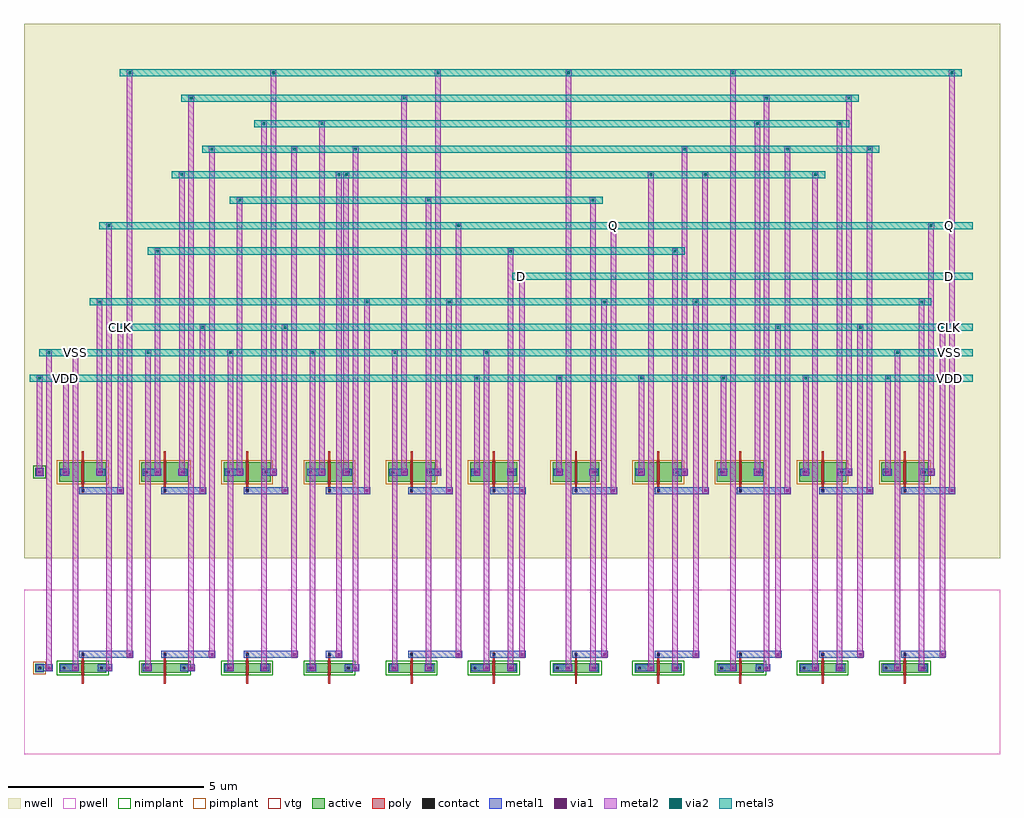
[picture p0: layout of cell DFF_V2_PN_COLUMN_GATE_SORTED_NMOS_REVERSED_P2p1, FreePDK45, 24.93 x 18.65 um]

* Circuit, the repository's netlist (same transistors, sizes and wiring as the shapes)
* cell DFF_V2_PN_COLUMN_GATE_SORTED_NMOS_REVERSED_P2p1
* pin Q
* pin CLK
* pin D
* pin VDD
* pin VSS
.SUBCKT DFF_V2_PN_COLUMN_GATE_SORTED_NMOS_REVERSED_P2p1 1 6 10 12 13
* net 1 Q
* net 6 CLK
* net 10 D
* net 12 VDD
* net 13 VSS
* device instance $1 r0 *1 22.2,7 PMOS_VTG
M$1 1 5 12 12 PMOS_VTG L=0.05U W=0.5U AS=0.2875P AD=0.2875P PS=2.15U PD=2.15U
* device instance $2 r0 *1 18,7 PMOS_VTG
M$2 3 8 12 12 PMOS_VTG L=0.05U W=0.5U AS=0.2875P AD=0.2875P PS=2.15U PD=2.15U
* device instance $3 r0 *1 15.9,7 PMOS_VTG
M$3 8 11 12 12 PMOS_VTG L=0.05U W=0.5U AS=0.2875P AD=0.2875P PS=2.15U PD=2.15U
* device instance $4 r0 *1 13.8,7 PMOS_VTG
M$4 9 1 12 12 PMOS_VTG L=0.05U W=0.5U AS=0.2875P AD=0.2875P PS=2.15U PD=2.15U
* device instance $5 r0 *1 20.1,7 PMOS_VTG
M$5 2 8 12 12 PMOS_VTG L=0.05U W=0.5U AS=0.2875P AD=0.2875P PS=2.15U PD=2.15U
* device instance $6 r0 *1 1.2,7 PMOS_VTG
M$6 7 6 12 12 PMOS_VTG L=0.05U W=0.5U AS=0.2875P AD=0.2875P PS=2.15U PD=2.15U
* device instance $7 r0 *1 3.3,7 PMOS_VTG
M$7 11 6 4 12 PMOS_VTG L=0.05U W=0.5U AS=0.2875P AD=0.2875P PS=2.15U PD=2.15U
* device instance $8 r0 *1 5.4,7 PMOS_VTG
M$8 5 6 9 12 PMOS_VTG L=0.05U W=0.5U AS=0.2875P AD=0.2875P PS=2.15U PD=2.15U
* device instance $9 r0 *1 7.5,7 PMOS_VTG
M$9 11 7 3 12 PMOS_VTG L=0.05U W=0.5U AS=0.2875P AD=0.2875P PS=2.15U PD=2.15U
* device instance $10 r0 *1 9.6,7 PMOS_VTG
M$10 5 7 2 12 PMOS_VTG L=0.05U W=0.5U AS=0.2875P AD=0.2875P PS=2.15U PD=2.15U
* device instance $11 r0 *1 11.7,7 PMOS_VTG
M$11 4 10 12 12 PMOS_VTG L=0.05U W=0.5U AS=0.2875P AD=0.2875P PS=2.15U PD=2.15U
* device instance $12 r0 *1 22.2,2 NMOS_VTG
M$12 7 6 13 13 NMOS_VTG L=0.05U W=0.25U AS=0.14375P AD=0.14375P PS=1.65U
+ PD=1.65U
* device instance $13 r0 *1 18,2 NMOS_VTG
M$13 2 6 5 13 NMOS_VTG L=0.05U W=0.25U AS=0.14375P AD=0.14375P PS=1.65U PD=1.65U
* device instance $14 r0 *1 15.9,2 NMOS_VTG
M$14 4 7 11 13 NMOS_VTG L=0.05U W=0.25U AS=0.14375P AD=0.14375P PS=1.65U
+ PD=1.65U
* device instance $15 r0 *1 20.1,2 NMOS_VTG
M$15 3 6 11 13 NMOS_VTG L=0.05U W=0.25U AS=0.14375P AD=0.14375P PS=1.65U
+ PD=1.65U
* device instance $16 r0 *1 13.8,2 NMOS_VTG
M$16 9 7 5 13 NMOS_VTG L=0.05U W=0.25U AS=0.14375P AD=0.14375P PS=1.65U PD=1.65U
* device instance $17 r0 *1 1.2,2 NMOS_VTG
M$17 1 5 13 13 NMOS_VTG L=0.05U W=0.25U AS=0.14375P AD=0.14375P PS=1.65U
+ PD=1.65U
* device instance $18 r0 *1 3.3,2 NMOS_VTG
M$18 2 8 13 13 NMOS_VTG L=0.05U W=0.25U AS=0.14375P AD=0.14375P PS=1.65U
+ PD=1.65U
* device instance $19 r0 *1 5.4,2 NMOS_VTG
M$19 3 8 13 13 NMOS_VTG L=0.05U W=0.25U AS=0.14375P AD=0.14375P PS=1.65U
+ PD=1.65U
* device instance $20 r0 *1 7.5,2 NMOS_VTG
M$20 8 11 13 13 NMOS_VTG L=0.05U W=0.25U AS=0.14375P AD=0.14375P PS=1.65U
+ PD=1.65U
* device instance $21 r0 *1 9.6,2 NMOS_VTG
M$21 9 1 13 13 NMOS_VTG L=0.05U W=0.25U AS=0.14375P AD=0.14375P PS=1.65U
+ PD=1.65U
* device instance $22 r0 *1 11.7,2 NMOS_VTG
M$22 4 10 13 13 NMOS_VTG L=0.05U W=0.25U AS=0.14375P AD=0.14375P PS=1.65U
+ PD=1.65U
.ENDS DFF_V2_PN_COLUMN_GATE_SORTED_NMOS_REVERSED_P2p1

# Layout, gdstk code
import gdstk
lib = gdstk.Library(unit=1e-6, precision=5e-10)
def R(c, l, rs):  # rectangles x0, y0, x1, y1
    for r in rs: c.add(gdstk.rectangle(r[:2], r[2:], *l))
def A(c, l, x, y, w, h, nx, ny, dx, dy):  # array of equal rectangles
    R(c, l, [(x+i*dx, y+j*dy, x+i*dx+w, y+j*dy+h) for i in range(nx) for j in range(ny)])
active = (1, 0)
pwell = (2, 0)
nwell = (3, 0)
nimplant = (4, 0)
pimplant = (5, 0)
vtg = (6, 0)
poly = (9, 0)
contact = (10, 0)
metal1 = (11, 0)
via1 = (12, 0)
metal2 = (13, 0)
via2 = (14, 0)
metal3 = (15, 0)

dff_v2_pn_column_gate_so = lib.new_cell('DFF_V2_PN_COLUMN_GATE_SORTED_NMOS_REVERSED_P2p1')
A(dff_v2_pn_column_gate_so, active, 0.6, 1.875, 1.2, 0.25, 11, 1, 2.1, 0)
A(dff_v2_pn_column_gate_so, active, 0.6, 6.75, 1.2, 0.5, 11, 1, 2.1, 0)
R(dff_v2_pn_column_gate_so, active, [(-0.01,1.89,0.21,2.11), (-0.01,6.89,0.21,7.11)])
R(dff_v2_pn_column_gate_so, pwell, [(-0.3,-0.2,24.63,4)])
R(dff_v2_pn_column_gate_so, nwell, [(-0.3,4.8,24.63,18.45)])
A(dff_v2_pn_column_gate_so, nimplant, 0.54, 1.815, 1.32, 0.37, 11, 1, 2.1, 0)
R(dff_v2_pn_column_gate_so, nimplant, [(-0.06,6.84,0.26,7.16)])
A(dff_v2_pn_column_gate_so, pimplant, 0.54, 6.69, 1.32, 0.62, 11, 1, 2.1, 0)
R(dff_v2_pn_column_gate_so, pimplant, [(-0.06,1.84,0.26,2.16)])
A(dff_v2_pn_column_gate_so, vtg, 1.165, 1.845, 0.07, 0.31, 11, 1, 2.1, 0)
A(dff_v2_pn_column_gate_so, vtg, 1.165, 6.72, 0.07, 0.56, 11, 1, 2.1, 0)
A(dff_v2_pn_column_gate_so, poly, 1.175, 1.595, 0.05, 0.81, 11, 1, 2.1, 0)
A(dff_v2_pn_column_gate_so, poly, 1.175, 6.47, 0.05, 1.06, 11, 1, 2.1, 0)
A(dff_v2_pn_column_gate_so, contact, 1.17, 2.315, 0.065, 0.065, 11, 2, 2.1, 4.185)
R(dff_v2_pn_column_gate_so, contact, [(0.07,1.97,0.135,2.035), (0.69,1.97,0.755,2.035), (1.65,1.97,1.715,2.035), (2.79,1.97,2.855,2.035), (3.75,1.97,3.815,2.035), (4.89,1.97,4.955,2.035), (5.85,1.97,5.915,2.035), (6.99,1.97,7.055,2.035), (7.95,1.97,8.015,2.035), (9.09,1.97,9.155,2.035), (10.05,1.97,10.115,2.035), (11.19,1.97,11.255,2.035), (12.15,1.97,12.215,2.035), (13.29,1.97,13.355,2.035), (14.25,1.97,14.315,2.035), (15.39,1.97,15.455,2.035), (16.35,1.97,16.415,2.035), (17.49,1.97,17.555,2.035), (18.45,1.97,18.515,2.035), (19.59,1.97,19.655,2.035), (20.55,1.97,20.615,2.035), (21.69,1.97,21.755,2.035), (22.65,1.97,22.715,2.035), (0.07,6.97,0.135,7.035), (0.69,6.97,0.755,7.035), (1.65,6.97,1.715,7.035), (2.79,6.97,2.855,7.035), (3.75,6.97,3.815,7.035), (4.89,6.97,4.955,7.035), (5.85,6.97,5.915,7.035), (6.99,6.97,7.055,7.035), (7.95,6.97,8.015,7.035), (9.09,6.97,9.155,7.035), (10.05,6.97,10.115,7.035), (11.19,6.97,11.255,7.035), (12.15,6.97,12.215,7.035), (13.29,6.97,13.355,7.035), (14.25,6.97,14.315,7.035), (15.39,6.97,15.455,7.035), (16.35,6.97,16.415,7.035), (17.49,6.97,17.555,7.035), (18.45,6.97,18.515,7.035), (19.59,6.97,19.655,7.035), (20.55,6.97,20.615,7.035), (21.69,6.97,21.755,7.035), (22.65,6.97,22.715,7.035)])
A(dff_v2_pn_column_gate_so, metal1, 11.27, 1.91, 0.24, 0.18, 4, 1, 2.1, 0)
A(dff_v2_pn_column_gate_so, metal1, 1.2, 2.255, 1.2, 0.18, 3, 1, 2.1, 0)
A(dff_v2_pn_column_gate_so, metal1, 15.9, 2.255, 0.96, 0.18, 4, 1, 2.1, 0)
A(dff_v2_pn_column_gate_so, metal1, 1.2, 6.44, 0.96, 0.18, 5, 1, 2.1, 0)
A(dff_v2_pn_column_gate_so, metal1, 15.9, 6.44, 1.2, 0.18, 4, 1, 2.1, 0)
R(dff_v2_pn_column_gate_so, metal1, [(0,1.9,0.2,2.1), (0.1,1.91,0.34,2.09), (0.1,1.91,0.34,2.09), (0.1,1.91,0.34,2.09), (0.1,1.91,0.34,2.09), (0.1,1.91,0.34,2.09), (0.1,1.91,0.34,2.09), (0.1,1.91,0.34,2.09), (0.1,1.91,0.34,2.09), (0.1,1.91,0.34,2.09), (0.1,1.91,0.34,2.09), (0.1,1.91,0.34,2.09), (0.1,1.91,0.34,2.09), (0.25,1.91,0.43,2.09), (0.25,1.91,0.43,2.09), (0.25,1.91,0.43,2.09), (0.25,1.91,0.43,2.09), (0.25,1.91,0.43,2.09), (0.25,1.91,0.43,2.09), (0.25,1.91,0.43,2.09), (0.25,1.91,0.43,2.09), (0.25,1.91,0.43,2.09), (0.25,1.91,0.43,2.09), (0.25,1.91,0.43,2.09), (0.25,1.91,0.43,2.09), (0.63,1.91,0.81,2.09), (0.77,1.91,1.01,2.09), (0.92,1.91,1.1,2.09), (1.59,1.91,1.77,2.09), (1.63,1.91,1.87,2.09), (1.78,1.91,1.96,2.09), (2.73,1.91,2.91,2.09), (2.78,1.91,2.96,2.09), (3.69,1.91,3.87,2.09), (3.73,1.91,3.97,2.09), (3.88,1.91,4.06,2.09), (4.83,1.91,5.01,2.09), (4.88,1.91,5.06,2.09), (5.74,1.91,5.92,2.09), (5.79,1.91,5.97,2.09), (6.93,1.91,7.11,2.09), (6.98,1.91,7.16,2.09), (7.89,1.91,8.07,2.09), (7.93,1.91,8.17,2.09), (8.08,1.91,8.26,2.09), (9.03,1.91,9.21,2.09), (9.08,1.91,9.26,2.09), (9.94,1.91,10.12,2.09), (9.99,1.91,10.17,2.09), (11.13,1.91,11.31,2.09), (11.42,1.91,11.6,2.09), (12.04,1.91,12.22,2.09), (12.09,1.91,12.27,2.09), (13.23,1.91,13.41,2.09), (13.52,1.91,13.7,2.09), (14.14,1.91,14.32,2.09), (14.19,1.91,14.37,2.09), (15.33,1.91,15.51,2.09), (15.62,1.91,15.8,2.09), (16.24,1.91,16.42,2.09), (16.29,1.91,16.47,2.09), (17.43,1.91,17.61,2.09), (17.72,1.91,17.9,2.09), (18.39,1.91,18.57,2.09), (18.43,1.91,18.67,2.09), (18.58,1.91,18.76,2.09), (19.53,1.91,19.71,2.09), (19.67,1.91,19.91,2.09), (19.82,1.91,20,2.09), (20.44,1.91,20.62,2.09), (20.49,1.91,20.67,2.09), (21.63,1.91,21.81,2.09), (21.77,1.91,22.01,2.09), (21.92,1.91,22.1,2.09), (22.54,1.91,22.72,2.09), (22.59,1.91,22.77,2.09), (1.11,2.255,1.29,2.435), (2.31,2.255,2.49,2.435), (3.21,2.255,3.39,2.435), (4.41,2.255,4.59,2.435), (5.31,2.255,5.49,2.435), (6.51,2.255,6.69,2.435), (7.41,2.255,7.59,2.435), (7.5,2.255,7.74,2.435), (7.65,2.255,7.83,2.435), (9.51,2.255,9.69,2.435), (9.6,2.255,10.8,2.435), (10.71,2.255,10.89,2.435), (11.61,2.255,11.79,2.435), (11.7,2.255,12.42,2.435), (12.33,2.255,12.51,2.435), (13.71,2.255,13.89,2.435), (13.8,2.255,14.52,2.435), (14.43,2.255,14.61,2.435), (15.81,2.255,15.99,2.435), (16.77,2.255,16.95,2.435), (17.91,2.255,18.09,2.435), (18.87,2.255,19.05,2.435), (20.01,2.255,20.19,2.435), (20.97,2.255,21.15,2.435), (22.11,2.255,22.29,2.435), (23.07,2.255,23.25,2.435), (1.11,6.44,1.29,6.62), (2.07,6.44,2.25,6.62), (3.21,6.44,3.39,6.62), (4.17,6.44,4.35,6.62), (5.31,6.44,5.49,6.62), (6.27,6.44,6.45,6.62), (7.41,6.44,7.59,6.62), (8.37,6.44,8.55,6.62), (9.51,6.44,9.69,6.62), (10.47,6.44,10.65,6.62), (11.61,6.44,11.79,6.62), (11.7,6.44,12.42,6.62), (12.33,6.44,12.51,6.62), (13.71,6.44,13.89,6.62), (13.8,6.44,14.76,6.62), (14.67,6.44,14.85,6.62), (15.81,6.44,15.99,6.62), (17.01,6.44,17.19,6.62), (17.91,6.44,18.09,6.62), (19.11,6.44,19.29,6.62), (20.01,6.44,20.19,6.62), (21.21,6.44,21.39,6.62), (22.11,6.44,22.29,6.62), (23.31,6.44,23.49,6.62), (0,6.9,0.2,7.1), (0.01,6.91,0.19,7.09), (0.01,6.91,0.19,7.09), (0.01,6.91,0.19,7.09), (0.01,6.91,0.19,7.09), (0.01,6.91,0.19,7.09), (0.01,6.91,0.19,7.09), (0.01,6.91,0.19,7.09), (0.01,6.91,0.19,7.09), (0.01,6.91,0.19,7.09), (0.01,6.91,0.19,7.09), (0.01,6.91,0.19,7.09), (0.01,6.91,0.19,7.09), (0.63,6.91,0.81,7.09), (0.68,6.91,0.86,7.09), (1.54,6.91,1.72,7.09), (1.59,6.91,1.77,7.09), (2.73,6.91,2.91,7.09), (2.87,6.91,3.11,7.09), (3.02,6.91,3.2,7.09), (3.64,6.91,3.82,7.09), (3.69,6.91,3.87,7.09), (4.83,6.91,5.01,7.09), (4.97,6.91,5.21,7.09), (5.12,6.91,5.3,7.09), (5.79,6.91,5.97,7.09), (5.83,6.91,6.07,7.09), (5.98,6.91,6.16,7.09), (6.93,6.91,7.11,7.09), (7.07,6.91,7.31,7.09), (7.22,6.91,7.4,7.09), (7.84,6.91,8.02,7.09), (7.89,6.91,8.07,7.09), (9.03,6.91,9.21,7.09), (9.17,6.91,9.41,7.09), (9.32,6.91,9.5,7.09), (9.99,6.91,10.17,7.09), (10.03,6.91,10.27,7.09), (10.18,6.91,10.36,7.09), (11.13,6.91,11.31,7.09), (11.18,6.91,11.36,7.09), (12.04,6.91,12.22,7.09), (12.09,6.91,12.27,7.09), (13.23,6.91,13.41,7.09), (13.28,6.91,13.46,7.09), (14.14,6.91,14.32,7.09), (14.19,6.91,14.37,7.09), (15.33,6.91,15.51,7.09), (15.38,6.91,15.56,7.09), (16.29,6.91,16.47,7.09), (16.33,6.91,16.57,7.09), (16.48,6.91,16.66,7.09), (17.43,6.91,17.61,7.09), (17.48,6.91,17.66,7.09), (18.34,6.91,18.52,7.09), (18.39,6.91,18.57,7.09), (19.53,6.91,19.71,7.09), (19.58,6.91,19.76,7.09), (20.49,6.91,20.67,7.09), (20.53,6.91,20.77,7.09), (20.68,6.91,20.86,7.09), (21.63,6.91,21.81,7.09), (21.68,6.91,21.86,7.09), (22.59,6.91,22.77,7.09), (22.63,6.91,22.87,7.09), (22.78,6.91,22.96,7.09)])
A(dff_v2_pn_column_gate_so, via1, 2.37, 2.315, 0.065, 0.065, 3, 1, 2.1, 0)
A(dff_v2_pn_column_gate_so, via1, 16.83, 2.315, 0.065, 0.065, 4, 1, 2.1, 0)
A(dff_v2_pn_column_gate_so, via1, 2.13, 6.5, 0.065, 0.065, 5, 1, 2.1, 0)
A(dff_v2_pn_column_gate_so, via1, 12.39, 6.5, 0.065, 0.065, 3, 1, 2.34, 0)
A(dff_v2_pn_column_gate_so, via1, 19.17, 6.5, 0.065, 0.065, 3, 1, 2.1, 0)
R(dff_v2_pn_column_gate_so, via1, [(0.31,1.97,0.375,2.035), (0.31,1.97,0.375,2.035), (0.31,1.97,0.375,2.035), (0.31,1.97,0.375,2.035), (0.31,1.97,0.375,2.035), (0.31,1.97,0.375,2.035), (0.31,1.97,0.375,2.035), (0.31,1.97,0.375,2.035), (0.31,1.97,0.375,2.035), (0.31,1.97,0.375,2.035), (0.31,1.97,0.375,2.035), (0.31,1.97,0.375,2.035), (0.98,1.97,1.045,2.035), (1.84,1.97,1.905,2.035), (2.84,1.97,2.905,2.035), (3.94,1.97,4.005,2.035), (4.94,1.97,5.005,2.035), (5.8,1.97,5.865,2.035), (7.04,1.97,7.105,2.035), (8.14,1.97,8.205,2.035), (9.14,1.97,9.205,2.035), (10,1.97,10.065,2.035), (11.48,1.97,11.545,2.035), (12.1,1.97,12.165,2.035), (13.58,1.97,13.645,2.035), (14.2,1.97,14.265,2.035), (15.68,1.97,15.745,2.035), (16.3,1.97,16.365,2.035), (17.78,1.97,17.845,2.035), (18.64,1.97,18.705,2.035), (19.88,1.97,19.945,2.035), (20.5,1.97,20.565,2.035), (21.98,1.97,22.045,2.035), (22.6,1.97,22.665,2.035), (7.71,2.315,7.775,2.38), (10.77,2.315,10.835,2.38), (12.39,2.315,12.455,2.38), (14.49,2.315,14.555,2.38), (0.07,6.97,0.135,7.035), (0.07,6.97,0.135,7.035), (0.07,6.97,0.135,7.035), (0.07,6.97,0.135,7.035), (0.07,6.97,0.135,7.035), (0.07,6.97,0.135,7.035), (0.07,6.97,0.135,7.035), (0.07,6.97,0.135,7.035), (0.07,6.97,0.135,7.035), (0.07,6.97,0.135,7.035), (0.07,6.97,0.135,7.035), (0.07,6.97,0.135,7.035), (0.74,6.97,0.805,7.035), (1.6,6.97,1.665,7.035), (3.08,6.97,3.145,7.035), (3.7,6.97,3.765,7.035), (5.18,6.97,5.245,7.035), (6.04,6.97,6.105,7.035), (7.28,6.97,7.345,7.035), (7.9,6.97,7.965,7.035), (9.38,6.97,9.445,7.035), (10.24,6.97,10.305,7.035), (11.24,6.97,11.305,7.035), (12.1,6.97,12.165,7.035), (13.34,6.97,13.405,7.035), (14.2,6.97,14.265,7.035), (15.44,6.97,15.505,7.035), (16.54,6.97,16.605,7.035), (17.54,6.97,17.605,7.035), (18.4,6.97,18.465,7.035), (19.64,6.97,19.705,7.035), (20.74,6.97,20.805,7.035), (21.74,6.97,21.805,7.035), (22.84,6.97,22.905,7.035)])
A(dff_v2_pn_column_gate_so, metal2, 2.8, 2, 0.14, 8.05, 4, 1, 2.1, 0)
A(dff_v2_pn_column_gate_so, metal2, 2.325, 2.27, 0.15, 0.15, 3, 1, 2.1, 0)
A(dff_v2_pn_column_gate_so, metal2, 16.785, 2.27, 0.15, 0.15, 4, 1, 2.1, 0)
A(dff_v2_pn_column_gate_so, metal2, 18.89, 2.345, 0.14, 8.355, 3, 1, 2.1, 0)
A(dff_v2_pn_column_gate_so, metal2, 2.085, 6.455, 0.15, 0.15, 5, 1, 2.1, 0)
A(dff_v2_pn_column_gate_so, metal2, 12.345, 6.455, 0.15, 0.15, 3, 1, 2.34, 0)
A(dff_v2_pn_column_gate_so, metal2, 19.125, 6.455, 0.15, 0.15, 3, 1, 2.1, 0)
A(dff_v2_pn_column_gate_so, metal2, 2.09, 6.53, 0.14, 4.17, 3, 1, 2.1, 0)
A(dff_v2_pn_column_gate_so, metal2, 11.2, 7, 0.14, 2.4, 6, 1, 2.1, 0)
A(dff_v2_pn_column_gate_so, metal2, 11.195, 9.325, 0.15, 0.15, 6, 1, 2.1, 0)
A(dff_v2_pn_column_gate_so, metal2, 2.795, 9.975, 0.15, 0.15, 4, 1, 2.1, 0)
A(dff_v2_pn_column_gate_so, metal2, 2.085, 10.625, 0.15, 0.15, 3, 1, 2.1, 0)
A(dff_v2_pn_column_gate_so, metal2, 18.885, 10.625, 0.15, 0.15, 3, 1, 2.1, 0)
R(dff_v2_pn_column_gate_so, metal2, [(0.265,1.925,0.415,2.075), (0.265,1.925,0.415,2.075), (0.265,1.925,0.415,2.075), (0.265,1.925,0.415,2.075), (0.265,1.925,0.415,2.075), (0.265,1.925,0.415,2.075), (0.265,1.925,0.415,2.075), (0.265,1.925,0.415,2.075), (0.265,1.925,0.415,2.075), (0.265,1.925,0.415,2.075), (0.265,1.925,0.415,2.075), (0.265,1.925,0.415,2.075), (0.935,1.925,1.085,2.075), (1.795,1.925,1.945,2.075), (2.795,1.925,2.945,2.075), (3.895,1.925,4.045,2.075), (4.895,1.925,5.045,2.075), (5.755,1.925,5.905,2.075), (6.995,1.925,7.145,2.075), (8.095,1.925,8.245,2.075), (9.095,1.925,9.245,2.075), (9.955,1.925,10.105,2.075), (11.435,1.925,11.585,2.075), (12.055,1.925,12.205,2.075), (13.535,1.925,13.685,2.075), (14.155,1.925,14.305,2.075), (15.635,1.925,15.785,2.075), (16.255,1.925,16.405,2.075), (17.735,1.925,17.885,2.075), (18.595,1.925,18.745,2.075), (19.835,1.925,19.985,2.075), (20.455,1.925,20.605,2.075), (21.935,1.925,22.085,2.075), (22.555,1.925,22.705,2.075), (0.27,2,0.41,10.05), (0.27,2,0.41,10.05), (0.27,2,0.41,10.05), (0.27,2,0.41,10.05), (0.27,2,0.41,10.05), (0.27,2,0.41,10.05), (0.27,2,0.41,10.05), (0.27,2,0.41,10.05), (0.27,2,0.41,10.05), (0.27,2,0.41,10.05), (0.27,2,0.41,10.05), (0.27,2,0.41,10.05), (0.94,2,1.08,10.05), (1.8,2,1.94,13.3), (3.9,2,4.04,16.55), (5.76,2,5.9,15.9), (8.1,2,8.24,15.25), (9.96,2,10.1,13.95), (11.44,2,11.58,10.05), (12.06,2,12.2,12.65), (13.54,2,13.68,17.2), (14.16,2,14.3,13.95), (15.64,2,15.78,14.6), (16.26,2,16.4,12.65), (17.74,2,17.88,17.2), (18.6,2,18.74,16.55), (19.84,2,19.98,14.6), (20.46,2,20.6,15.9), (21.94,2,22.08,10.05), (22.56,2,22.7,11.35), (7.665,2.27,7.815,2.42), (10.725,2.27,10.875,2.42), (12.345,2.27,12.495,2.42), (14.445,2.27,14.595,2.42), (2.33,2.345,2.47,17.2), (4.43,2.345,4.57,15.25), (6.53,2.345,6.67,15.25), (7.67,2.345,7.81,14.6), (10.73,2.345,10.87,13.3), (12.35,2.345,12.49,12), (14.45,2.345,14.59,11.35), (16.79,2.345,16.93,11.35), (8.39,6.53,8.53,11.35), (10.49,6.53,10.63,11.35), (12.35,6.53,12.49,12), (14.69,6.53,14.83,13.3), (17.03,6.53,17.17,14.6), (19.13,6.53,19.27,15.25), (21.23,6.53,21.37,15.25), (23.33,6.53,23.47,17.2), (0.025,6.925,0.175,7.075), (0.025,6.925,0.175,7.075), (0.025,6.925,0.175,7.075), (0.025,6.925,0.175,7.075), (0.025,6.925,0.175,7.075), (0.025,6.925,0.175,7.075), (0.025,6.925,0.175,7.075), (0.025,6.925,0.175,7.075), (0.025,6.925,0.175,7.075), (0.025,6.925,0.175,7.075), (0.025,6.925,0.175,7.075), (0.025,6.925,0.175,7.075), (0.695,6.925,0.845,7.075), (1.555,6.925,1.705,7.075), (3.035,6.925,3.185,7.075), (3.655,6.925,3.805,7.075), (5.135,6.925,5.285,7.075), (5.995,6.925,6.145,7.075), (7.235,6.925,7.385,7.075), (7.855,6.925,8.005,7.075), (9.335,6.925,9.485,7.075), (10.195,6.925,10.345,7.075), (11.195,6.925,11.345,7.075), (12.055,6.925,12.205,7.075), (13.295,6.925,13.445,7.075), (14.155,6.925,14.305,7.075), (15.395,6.925,15.545,7.075), (16.495,6.925,16.645,7.075), (17.495,6.925,17.645,7.075), (18.355,6.925,18.505,7.075), (19.595,6.925,19.745,7.075), (20.695,6.925,20.845,7.075), (21.695,6.925,21.845,7.075), (22.795,6.925,22.945,7.075), (0.03,7,0.17,9.4), (0.03,7,0.17,9.4), (0.03,7,0.17,9.4), (0.03,7,0.17,9.4), (0.03,7,0.17,9.4), (0.03,7,0.17,9.4), (0.03,7,0.17,9.4), (0.03,7,0.17,9.4), (0.03,7,0.17,9.4), (0.03,7,0.17,9.4), (0.03,7,0.17,9.4), (0.03,7,0.17,9.4), (0.7,7,0.84,9.4), (1.56,7,1.7,11.35), (3.04,7,3.18,12.65), (3.66,7,3.8,14.6), (5.14,7,5.28,13.95), (6,7,6.14,17.2), (7.24,7,7.38,15.9), (7.86,7,8,14.6), (9.34,7,9.48,16.55), (10.2,7,10.34,17.2), (12.06,7,12.2,12.65), (14.16,7,14.3,13.95), (16.5,7,16.64,15.25), (18.36,7,18.5,15.9), (20.7,7,20.84,16.55), (22.8,7,22.94,13.3), (0.025,9.325,0.175,9.475), (0.025,9.325,0.175,9.475), (0.025,9.325,0.175,9.475), (0.025,9.325,0.175,9.475), (0.025,9.325,0.175,9.475), (0.025,9.325,0.175,9.475), (0.025,9.325,0.175,9.475), (0.025,9.325,0.175,9.475), (0.025,9.325,0.175,9.475), (0.025,9.325,0.175,9.475), (0.025,9.325,0.175,9.475), (0.025,9.325,0.175,9.475), (0.695,9.325,0.845,9.475), (0.265,9.975,0.415,10.125), (0.265,9.975,0.415,10.125), (0.265,9.975,0.415,10.125), (0.265,9.975,0.415,10.125), (0.265,9.975,0.415,10.125), (0.265,9.975,0.415,10.125), (0.265,9.975,0.415,10.125), (0.265,9.975,0.415,10.125), (0.265,9.975,0.415,10.125), (0.265,9.975,0.415,10.125), (0.265,9.975,0.415,10.125), (0.265,9.975,0.415,10.125), (0.935,9.975,1.085,10.125), (11.435,9.975,11.585,10.125), (21.935,9.975,22.085,10.125), (1.555,11.275,1.705,11.425), (8.385,11.275,8.535,11.425), (10.485,11.275,10.635,11.425), (14.445,11.275,14.595,11.425), (16.785,11.275,16.935,11.425), (22.555,11.275,22.705,11.425), (12.345,11.925,12.495,12.075), (12.345,11.925,12.495,12.075), (3.035,12.575,3.185,12.725), (12.055,12.575,12.205,12.725), (12.055,12.575,12.205,12.725), (16.255,12.575,16.405,12.725), (1.795,13.225,1.945,13.375), (10.725,13.225,10.875,13.375), (14.685,13.225,14.835,13.375), (22.795,13.225,22.945,13.375), (5.135,13.875,5.285,14.025), (9.955,13.875,10.105,14.025), (14.155,13.875,14.305,14.025), (14.155,13.875,14.305,14.025), (3.655,14.525,3.805,14.675), (7.665,14.525,7.815,14.675), (7.855,14.525,8.005,14.675), (15.635,14.525,15.785,14.675), (17.025,14.525,17.175,14.675), (19.835,14.525,19.985,14.675), (4.425,15.175,4.575,15.325), (6.525,15.175,6.675,15.325), (8.095,15.175,8.245,15.325), (16.495,15.175,16.645,15.325), (19.125,15.175,19.275,15.325), (21.225,15.175,21.375,15.325), (5.755,15.825,5.905,15.975), (7.235,15.825,7.385,15.975), (18.355,15.825,18.505,15.975), (20.455,15.825,20.605,15.975), (3.895,16.475,4.045,16.625), (9.335,16.475,9.485,16.625), (18.595,16.475,18.745,16.625), (20.695,16.475,20.845,16.625), (2.325,17.125,2.475,17.275), (5.995,17.125,6.145,17.275), (10.195,17.125,10.345,17.275), (13.535,17.125,13.685,17.275), (17.735,17.125,17.885,17.275), (23.325,17.125,23.475,17.275)])
A(dff_v2_pn_column_gate_so, via2, 11.24, 9.37, 0.065, 0.065, 6, 1, 2.1, 0)
A(dff_v2_pn_column_gate_so, via2, 2.84, 10.02, 0.065, 0.065, 4, 1, 2.1, 0)
A(dff_v2_pn_column_gate_so, via2, 2.13, 10.67, 0.065, 0.065, 3, 1, 2.1, 0)
A(dff_v2_pn_column_gate_so, via2, 18.93, 10.67, 0.065, 0.065, 3, 1, 2.1, 0)
R(dff_v2_pn_column_gate_so, via2, [(0.07,9.37,0.135,9.435), (0.07,9.37,0.135,9.435), (0.07,9.37,0.135,9.435), (0.07,9.37,0.135,9.435), (0.07,9.37,0.135,9.435), (0.07,9.37,0.135,9.435), (0.07,9.37,0.135,9.435), (0.07,9.37,0.135,9.435), (0.07,9.37,0.135,9.435), (0.07,9.37,0.135,9.435), (0.07,9.37,0.135,9.435), (0.07,9.37,0.135,9.435), (0.74,9.37,0.805,9.435), (0.31,10.02,0.375,10.085), (0.31,10.02,0.375,10.085), (0.31,10.02,0.375,10.085), (0.31,10.02,0.375,10.085), (0.31,10.02,0.375,10.085), (0.31,10.02,0.375,10.085), (0.31,10.02,0.375,10.085), (0.31,10.02,0.375,10.085), (0.31,10.02,0.375,10.085), (0.31,10.02,0.375,10.085), (0.31,10.02,0.375,10.085), (0.31,10.02,0.375,10.085), (0.98,10.02,1.045,10.085), (11.48,10.02,11.545,10.085), (21.98,10.02,22.045,10.085), (1.6,11.32,1.665,11.385), (8.43,11.32,8.495,11.385), (10.53,11.32,10.595,11.385), (14.49,11.32,14.555,11.385), (16.83,11.32,16.895,11.385), (22.6,11.32,22.665,11.385), (12.39,11.97,12.455,12.035), (12.39,11.97,12.455,12.035), (3.08,12.62,3.145,12.685), (12.1,12.62,12.165,12.685), (12.1,12.62,12.165,12.685), (16.3,12.62,16.365,12.685), (1.84,13.27,1.905,13.335), (10.77,13.27,10.835,13.335), (14.73,13.27,14.795,13.335), (22.84,13.27,22.905,13.335), (5.18,13.92,5.245,13.985), (10,13.92,10.065,13.985), (14.2,13.92,14.265,13.985), (14.2,13.92,14.265,13.985), (3.7,14.57,3.765,14.635), (7.71,14.57,7.775,14.635), (7.9,14.57,7.965,14.635), (15.68,14.57,15.745,14.635), (17.07,14.57,17.135,14.635), (19.88,14.57,19.945,14.635), (4.47,15.22,4.535,15.285), (6.57,15.22,6.635,15.285), (8.14,15.22,8.205,15.285), (16.54,15.22,16.605,15.285), (19.17,15.22,19.235,15.285), (21.27,15.22,21.335,15.285), (5.8,15.87,5.865,15.935), (7.28,15.87,7.345,15.935), (18.4,15.87,18.465,15.935), (20.5,15.87,20.565,15.935), (3.94,16.52,4.005,16.585), (9.38,16.52,9.445,16.585), (18.64,16.52,18.705,16.585), (20.74,16.52,20.805,16.585), (2.37,17.17,2.435,17.235), (6.04,17.17,6.105,17.235), (10.24,17.17,10.305,17.235), (13.58,17.17,13.645,17.235), (17.78,17.17,17.845,17.235), (23.37,17.17,23.435,17.235)])
A(dff_v2_pn_column_gate_so, metal3, 11.195, 9.325, 0.15, 0.15, 6, 1, 2.1, 0)
A(dff_v2_pn_column_gate_so, metal3, 2.795, 9.975, 0.15, 0.15, 4, 1, 2.1, 0)
A(dff_v2_pn_column_gate_so, metal3, 2.085, 10.625, 0.15, 0.15, 3, 1, 2.1, 0)
A(dff_v2_pn_column_gate_so, metal3, 18.885, 10.625, 0.15, 0.15, 3, 1, 2.1, 0)
R(dff_v2_pn_column_gate_so, metal3, [(-0.15,9.31,22.02,9.49), (22.02,9.31,23.93,9.49), (0.025,9.325,0.175,9.475), (0.025,9.325,0.175,9.475), (0.025,9.325,0.175,9.475), (0.025,9.325,0.175,9.475), (0.025,9.325,0.175,9.475), (0.025,9.325,0.175,9.475), (0.025,9.325,0.175,9.475), (0.025,9.325,0.175,9.475), (0.025,9.325,0.175,9.475), (0.025,9.325,0.175,9.475), (0.025,9.325,0.175,9.475), (0.025,9.325,0.175,9.475), (0.695,9.325,0.845,9.475), (0.09,9.96,22.26,10.14), (22.26,9.96,23.93,10.14), (0.265,9.975,0.415,10.125), (0.265,9.975,0.415,10.125), (0.265,9.975,0.415,10.125), (0.265,9.975,0.415,10.125), (0.265,9.975,0.415,10.125), (0.265,9.975,0.415,10.125), (0.265,9.975,0.415,10.125), (0.265,9.975,0.415,10.125), (0.265,9.975,0.415,10.125), (0.265,9.975,0.415,10.125), (0.265,9.975,0.415,10.125), (0.265,9.975,0.415,10.125), (0.935,9.975,1.085,10.125), (11.435,9.975,11.585,10.125), (21.935,9.975,22.085,10.125), (1.91,10.61,23.41,10.79), (23.41,10.61,23.93,10.79), (1.38,11.26,22.88,11.44), (1.555,11.275,1.705,11.425), (8.385,11.275,8.535,11.425), (10.485,11.275,10.635,11.425), (14.445,11.275,14.595,11.425), (16.785,11.275,16.935,11.425), (22.555,11.275,22.705,11.425), (12.17,11.91,12.67,12.09), (12.67,11.91,23.93,12.09), (12.345,11.925,12.495,12.075), (12.345,11.925,12.495,12.075), (2.86,12.56,16.58,12.74), (3.035,12.575,3.185,12.725), (12.055,12.575,12.205,12.725), (12.055,12.575,12.205,12.725), (16.255,12.575,16.405,12.725), (1.62,13.21,23.12,13.39), (23.12,13.21,23.93,13.39), (1.795,13.225,1.945,13.375), (10.725,13.225,10.875,13.375), (14.685,13.225,14.835,13.375), (22.795,13.225,22.945,13.375), (4.96,13.86,14.48,14.04), (5.135,13.875,5.285,14.025), (9.955,13.875,10.105,14.025), (14.155,13.875,14.305,14.025), (14.155,13.875,14.305,14.025), (3.48,14.51,20.16,14.69), (3.655,14.525,3.805,14.675), (7.665,14.525,7.815,14.675), (7.855,14.525,8.005,14.675), (15.635,14.525,15.785,14.675), (17.025,14.525,17.175,14.675), (19.835,14.525,19.985,14.675), (4.25,15.16,21.55,15.34), (4.425,15.175,4.575,15.325), (6.525,15.175,6.675,15.325), (8.095,15.175,8.245,15.325), (16.495,15.175,16.645,15.325), (19.125,15.175,19.275,15.325), (21.225,15.175,21.375,15.325), (5.58,15.81,20.78,15.99), (5.755,15.825,5.905,15.975), (7.235,15.825,7.385,15.975), (18.355,15.825,18.505,15.975), (20.455,15.825,20.605,15.975), (3.72,16.46,21.02,16.64), (3.895,16.475,4.045,16.625), (9.335,16.475,9.485,16.625), (18.595,16.475,18.745,16.625), (20.695,16.475,20.845,16.625), (2.15,17.11,23.65,17.29), (2.325,17.125,2.475,17.275), (5.995,17.125,6.145,17.275), (10.195,17.125,10.345,17.275), (13.535,17.125,13.685,17.275), (17.735,17.125,17.885,17.275), (23.325,17.125,23.475,17.275)])
dff_v2_pn_column_gate_so.add(gdstk.Label('VDD', (23.33,9.4), layer=15, texttype=0))
dff_v2_pn_column_gate_so.add(gdstk.Label('VDD', (23.33,9.4), layer=15, texttype=1))
dff_v2_pn_column_gate_so.add(gdstk.Label('VDD', (23.33,9.4), layer=15, texttype=2))
dff_v2_pn_column_gate_so.add(gdstk.Label('VDD', (0.77,9.4), layer=13, texttype=0))
dff_v2_pn_column_gate_so.add(gdstk.Label('VDD', (0.77,9.4), layer=13, texttype=1))
dff_v2_pn_column_gate_so.add(gdstk.Label('VDD', (0.77,9.4), layer=13, texttype=2))
dff_v2_pn_column_gate_so.add(gdstk.Label('VSS', (23.33,10.05), layer=15, texttype=0))
dff_v2_pn_column_gate_so.add(gdstk.Label('VSS', (23.33,10.05), layer=15, texttype=1))
dff_v2_pn_column_gate_so.add(gdstk.Label('VSS', (23.33,10.05), layer=15, texttype=2))
dff_v2_pn_column_gate_so.add(gdstk.Label('VSS', (1.01,10.05), layer=13, texttype=0))
dff_v2_pn_column_gate_so.add(gdstk.Label('VSS', (1.01,10.05), layer=13, texttype=1))
dff_v2_pn_column_gate_so.add(gdstk.Label('VSS', (1.01,10.05), layer=13, texttype=2))
dff_v2_pn_column_gate_so.add(gdstk.Label('D', (23.33,12), layer=15, texttype=0))
dff_v2_pn_column_gate_so.add(gdstk.Label('D', (23.33,12), layer=15, texttype=1))
dff_v2_pn_column_gate_so.add(gdstk.Label('D', (23.33,12), layer=15, texttype=2))
dff_v2_pn_column_gate_so.add(gdstk.Label('D', (12.42,12), layer=13, texttype=0))
dff_v2_pn_column_gate_so.add(gdstk.Label('D', (12.42,12), layer=13, texttype=1))
dff_v2_pn_column_gate_so.add(gdstk.Label('D', (12.42,12), layer=13, texttype=2))
dff_v2_pn_column_gate_so.add(gdstk.Label('Q', (23.33,13.3), layer=15, texttype=0))
dff_v2_pn_column_gate_so.add(gdstk.Label('Q', (23.33,13.3), layer=15, texttype=1))
dff_v2_pn_column_gate_so.add(gdstk.Label('Q', (23.33,13.3), layer=15, texttype=2))
dff_v2_pn_column_gate_so.add(gdstk.Label('Q', (14.76,13.3), layer=13, texttype=0))
dff_v2_pn_column_gate_so.add(gdstk.Label('Q', (14.76,13.3), layer=13, texttype=1))
dff_v2_pn_column_gate_so.add(gdstk.Label('Q', (14.76,13.3), layer=13, texttype=2))
dff_v2_pn_column_gate_so.add(gdstk.Label('CLK', (23.33,10.7), layer=15, texttype=0))
dff_v2_pn_column_gate_so.add(gdstk.Label('CLK', (23.33,10.7), layer=15, texttype=1))
dff_v2_pn_column_gate_so.add(gdstk.Label('CLK', (23.33,10.7), layer=15, texttype=2))
dff_v2_pn_column_gate_so.add(gdstk.Label('CLK', (2.16,10.7), layer=13, texttype=0))
dff_v2_pn_column_gate_so.add(gdstk.Label('CLK', (2.16,10.7), layer=13, texttype=1))
dff_v2_pn_column_gate_so.add(gdstk.Label('CLK', (2.16,10.7), layer=13, texttype=2))

lib.write_gds('DFF_V2_PN_COLUMN_GATE_SORTED_NMOS_REVERSED_P2p1.gds')
